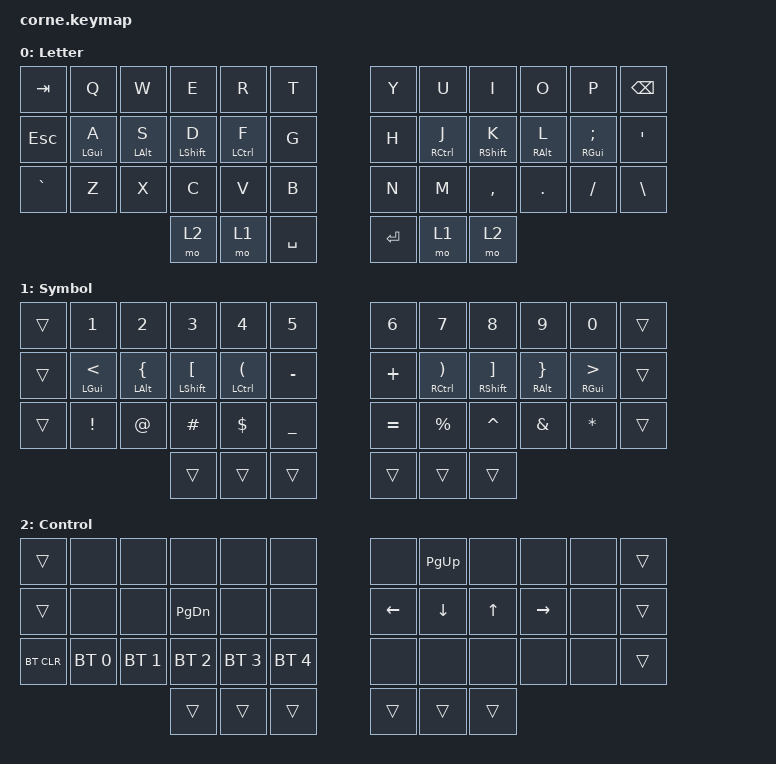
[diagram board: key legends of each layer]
/*
 * Copyright (c) 2020 The ZMK Contributors
 *
 * SPDX-License-Identifier: MIT
 */

#include <behaviors.dtsi>
#include <dt-bindings/zmk/keys.h>
#include <dt-bindings/zmk/bt.h>

/ {
        behaviors {
                hm: homerow_mods {
                        compatible = "zmk,behavior-hold-tap";
                        #binding-cells = <2>;
                        tapping-term-ms = <280>;
                        quick-tap-ms = <175>;
                        require-prior-idle-ms = <150>;
                        flavor = "balanced";
                        bindings = <&kp>, <&kp>;
                };
        };

        keymap {
                compatible = "zmk,keymap";

                letter_layer {
                        display-name = "Letter";
                        bindings = <
   &kp TAB    &kp Q       &kp W       &kp E        &kp R        &kp T     &kp Y  &kp U        &kp I        &kp O       &kp P          &kp BSPC
   &kp ESC    &hm LGUI A  &hm LALT S  &hm LSHFT D  &hm LCTRL F  &kp G     &kp H  &hm RCTRL J  &hm RSHFT K  &hm RALT L  &hm RGUI SEMI  &kp SQT
   &kp GRAVE  &kp Z       &kp X       &kp C        &kp V        &kp B     &kp N  &kp M        &kp COMMA    &kp DOT     &kp FSLH       &kp BSLH
                                              &mo 2  &mo 1  &kp SPACE     &kp RET  &mo 1  &mo 2
                        >;
                };
                symbol_layer {
                        display-name = "Symbol";
                        bindings = <
   &trans  &kp N1       &kp N2         &kp N3          &kp N4          &kp N5        &kp N6     &kp N7          &kp N8          &kp N9         &kp N0       &trans
   &trans  &hm LGUI LT  &hm LALT LBRC  &hm LSHFT LBKT  &hm LCTRL LPAR  &kp MINUS     &kp PLUS   &hm RCTRL RPAR  &hm RSHFT RBKT  &hm RALT RBRC  &hm RGUI GT  &trans
   &trans  &kp EXCL     &kp AT         &kp HASH        &kp DLLR        &kp UNDER     &kp EQUAL  &kp PRCNT       &kp CARET       &kp AMPS       &kp ASTRK    &trans
                    	                                  &trans  &trans  &trans     &trans  &trans  &trans
                        >;
                };
                control_layer {
                        display-name = "Control";
                        bindings = <
   &trans      &none         &none         &none         &none         &none            &none     &kp PG_UP  &none   &none      &none  &trans  
   &trans      &none         &none         &kp PG_DN     &none         &none            &kp LEFT  &kp DOWN   &kp UP  &kp RIGHT  &none  &trans
   &bt BT_CLR  &bt BT_SEL 0  &bt BT_SEL 1  &bt BT_SEL 2  &bt BT_SEL 3  &bt BT_SEL 4     &none     &none      &none   &none      &none  &trans 
                          	                                 &trans  &trans  &trans     &trans  &trans  &trans
                        >;
                };
        };
};
